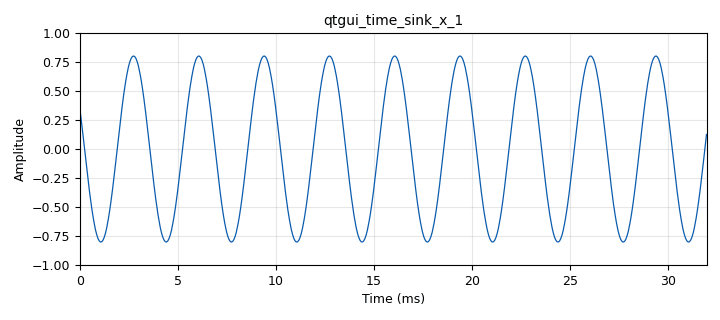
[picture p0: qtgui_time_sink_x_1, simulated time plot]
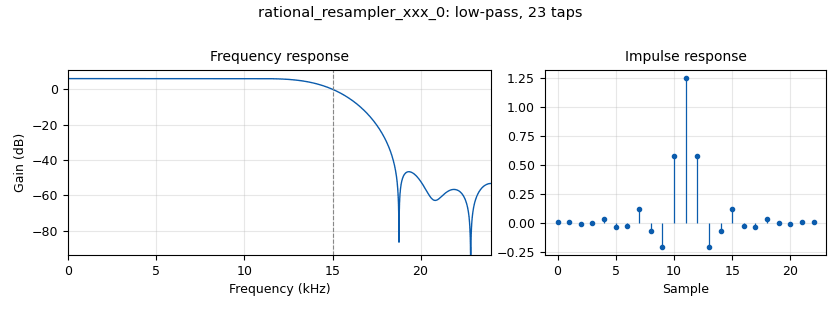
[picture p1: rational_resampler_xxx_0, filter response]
options:
  parameters:
    author: lauta
    generate_options: qt_gui
    id: ejercico11
    output_language: python
    title: Not titled yet
  states: {}

blocks:
- name: New_rate
  id: variable
  parameters:
    value: '32000'
  states: {}
- name: Original_rate
  id: variable
  parameters:
    value: '48000'
  states: {}
- name: samp_rate
  id: variable
  parameters:
    value: '48000'
  states: {}
- name: analog_sig_source_x_0
  id: analog_sig_source_x
  parameters:
    amp: '0.8'
    freq: '300'
    offset: '0'
    phase: '0'
    samp_rate: Original_rate
    type: float
    waveform: analog.GR_SIN_WAVE
  states: {}
- name: audio_sink_0
  id: audio_sink
  parameters:
    samp_rate: '48000'
  states: {state: disabled}
- name: audio_sink_1
  id: audio_sink
  parameters:
    samp_rate: '32000'
  states: {}
- name: blocks_throttle2_0
  id: blocks_throttle2
  parameters:
    samples_per_second: Original_rate
    type: float
  states: {}
- name: blocks_throttle2_1
  id: blocks_throttle2
  parameters:
    samples_per_second: New_rate
    type: float
  states: {}
- name: fir_filter_xxx_0
  id: fir_filter_xxx
  parameters:
    decim: '3'
    taps: firdes.low_pass(1, 96000, 15000, 5000)
    type: fff
  states: {state: disabled}
- name: interp_fir_filter_xxx_0
  id: interp_fir_filter_xxx
  parameters:
    interp: '2'
    taps: firdes.low_pass(2, 96000, 15000, 5000)
    type: fff
  states: {state: disabled}
- name: qtgui_time_sink_x_0
  id: qtgui_time_sink_x
  parameters:
    size: '1024'
    srate: Original_rate
    type: float
  states: {state: disabled}
- name: qtgui_time_sink_x_1
  id: qtgui_time_sink_x
  parameters:
    size: '1024'
    srate: New_rate
    type: float
  states: {}
- name: rational_resampler_xxx_0
  id: rational_resampler_xxx
  parameters:
    decim: '3'
    fbw: '0.4'
    interp: '2'
    taps: firdes.low_pass(2, 48000, 15000, 5000)
    type: fff
  states: {}

connections:
- [analog_sig_source_x_0, '0', blocks_throttle2_0, '0']
- [blocks_throttle2_0, '0', rational_resampler_xxx_0, '0']
- [blocks_throttle2_1, '0', audio_sink_1, '0']
- [blocks_throttle2_1, '0', qtgui_time_sink_x_1, '0']
- [interp_fir_filter_xxx_0, '0', fir_filter_xxx_0, '0']
- [rational_resampler_xxx_0, '0', blocks_throttle2_1, '0']

metadata:
  file_format: 1
  grc_version: 3.10.12.0
